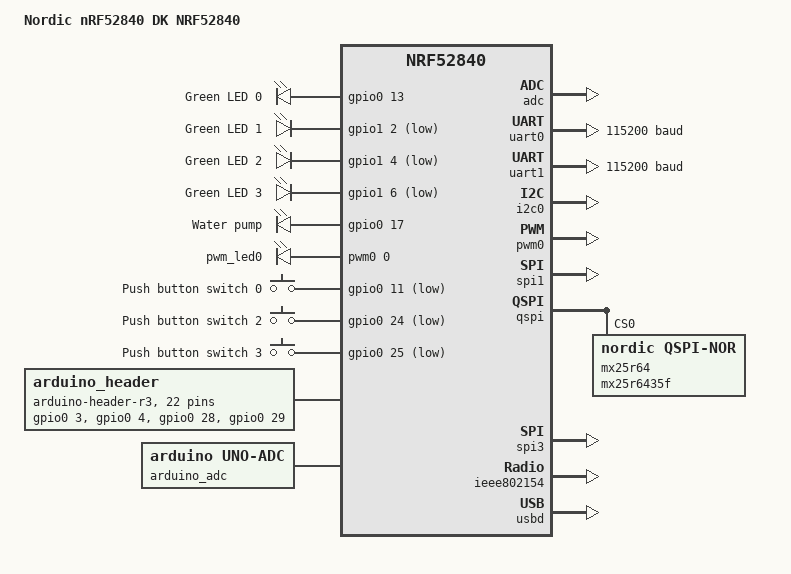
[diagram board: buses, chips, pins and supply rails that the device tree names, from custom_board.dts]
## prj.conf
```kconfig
#
# Copyright (c) 2020 Nordic Semiconductor
#
# SPDX-License-Identifier: LicenseRef-Nordic-5-Clause
#

# nRF board library
CONFIG_DK_LIBRARY=y
CONFIG_OPENTHREAD_NORDIC_LIBRARY_MASTER=y

CONFIG_MAIN_STACK_SIZE=4069

# Enable OpenThread CoAP support API
CONFIG_OPENTHREAD_COAP=y

# Network shell
CONFIG_SHELL=n
CONFIG_OPENTHREAD_SHELL=n
CONFIG_SHELL_ARGC_MAX=26
CONFIG_SHELL_CMD_BUFF_SIZE=416

# Network sockets
CONFIG_NET_SOCKETS=y
CONFIG_NET_SOCKETS_POSIX_NAMES=y
CONFIG_NET_SOCKETS_POLL_MAX=4

# Same network Master Key for client and server
CONFIG_OPENTHREAD_NETWORKKEY="82:21:94:33:11:87:66:75:88:99:ae:bc:fc:da:ea:fc"
CONFIG_OPENTHREAD_NETWORK_NAME="Yann-OpenThread"
CONFIG_OPENTHREAD_CHANNEL=15
CONFIG_OPENTHREAD_PANID=4289
CONFIG_OPENTHREAD_XPANID="97:87:30:19:36:63:66:16"
CONFIG_OPENTHREAD_JOINER_PSKD="J01NU5"
CONFIG_OPENTHREAD_JOINER=y
CONFIG_OPENTHREAD_JOINER_AUTOSTART=y

# L2 OpenThread enabling
CONFIG_NET_L2_OPENTHREAD=y

# Generic networking options
CONFIG_NETWORKING=y

CONFIG_MBEDTLS_SHA1_C=n
CONFIG_FPU=y

# ADC
CONFIG_ADC=y

# Fuel gauge
CONFIG_FUEL_GAUGE=y

# Temperature/Humidity sensor
CONFIG_SENSOR=y
```

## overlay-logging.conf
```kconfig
#
# Copyright (c) 2022 Nordic Semiconductor
#
# SPDX-License-Identifier: LicenseRef-Nordic-5-Clause

# Enable net module logging
CONFIG_NET_LOG=y
# Option for configuring log level in net config library
CONFIG_NET_CONFIG_LOG_LEVEL_INF=y

# Option for configuring log level in Zephyr L2 logging
CONFIG_OPENTHREAD_L2_DEBUG=y
#CONFIG_OPENTHREAD_L2_LOG_LEVEL_DBG=y
CONFIG_OPENTHREAD_L2_DEBUG_DUMP_15_4=y
CONFIG_OPENTHREAD_L2_DEBUG_DUMP_IPV6=y

# Configure sample logging setting
CONFIG_LOG=y
CONFIG_COAP_SERVER_LOG_LEVEL_INF=y
#CONFIG_OT_COAP_UTILS_LOG_LEVEL_DBG=y
CONFIG_OPENTHREAD_DEBUG=n

# Option for configuring log level in OpenThread
CONFIG_OT_COAP_UTILS_LOG_LEVEL_INF=y
#CONFIG_OPENTHREAD_LOG_LEVEL_NOTE=y


# Disable RTT logging backend
#CONFIG_USE_SEGGER_RTT=n
CONFIG_LOG_BACKEND_RTT=n

# Enable UART logging backend
CONFIG_LOG_BACKEND_UART=n
CONFIG_SHELL_LOG_BACKEND=y
```

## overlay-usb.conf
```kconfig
#
# Copyright (c) 2021 Nordic Semiconductor
#
# SPDX-License-Identifier: LicenseRef-Nordic-5-Clause
#

CONFIG_SHELL_BACKEND_SERIAL_INIT_PRIORITY=51

CONFIG_UART_LINE_CTRL=n
#CONFIG_SHELL_BACKEND_SERIAL_CHECK_DTR=y
#CONFIG_USB_CDC_ACM_LOG_LEVEL_OFF=y

CONFIG_USB_DEVICE_STACK=y
CONFIG_USB_DEVICE_REMOTE_WAKEUP=n
CONFIG_USB_DEVICE_MANUFACTURER="Yann T."
CONFIG_USB_DEVICE_PRODUCT="HA CoAp Device"
CONFIG_USB_DEVICE_VID=0x1915
CONFIG_USB_DEVICE_PID=0x0000
CONFIG_USB_DEVICE_INITIALIZE_AT_BOOT=n
```

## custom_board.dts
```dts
/*
 * Copyright (c) 2017 Linaro Limited
 *
 * SPDX-License-Identifier: Apache-2.0
 */

/dts-v1/;
#include <nordic/nrf52840_qiaa.dtsi>
#include "nrf52840dk_nrf52840-pinctrl.dtsi"

/ {
	model = "Nordic nRF52840 DK NRF52840";
	compatible = "nordic,nrf52840-dk-nrf52840";

	chosen {
		zephyr,console = &cdc_acm_uart;
		zephyr,shell-uart = &cdc_acm_uart;
		zephyr,uart-mcumgr = &cdc_acm_uart;
		zephyr,bt-mon-uart = &cdc_acm_uart;
		zephyr,bt-c2h-uart = &cdc_acm_uart;
		zephyr,sram = &sram0;
		zephyr,flash = &flash0;
		zephyr,code-partition = &slot0_partition;
		zephyr,ieee802154 = &ieee802154;
	};

	leds {
		compatible = "gpio-leds";
		led0: led_0 {
			gpios = <&gpio0 13 GPIO_ACTIVE_HIGH>;
			label = "Green LED 0";
		};
		led1: led_1 {
			gpios = <&gpio1 2 GPIO_ACTIVE_LOW>;
			label = "Green LED 1";
		};
		led2: led_2 {
			gpios = <&gpio1 4 GPIO_ACTIVE_LOW>;
			label = "Green LED 2";
		};
		led3: led_3 {
			gpios = <&gpio1 6 GPIO_ACTIVE_LOW>;
			label = "Green LED 3";
		};
		pump1: pump_1 {
			gpios = <&gpio0 17 GPIO_ACTIVE_HIGH>;
			label = "Water pump";
		};
	};

	pwmleds {
		compatible = "pwm-leds";
		pwm_led0: pwm_led_0 {
			pwms = <&pwm0 0 PWM_MSEC(20) PWM_POLARITY_INVERTED>;
		};
	};

	buttons {
		compatible = "gpio-keys";
		button0: button_0 {
			gpios = <&gpio0 11 (GPIO_PULL_UP | GPIO_ACTIVE_LOW)>;
			label = "Push button switch 0";
		};
		// button1: button_1 {
		// 	gpios = <&gpio0 12 (GPIO_PULL_UP | GPIO_ACTIVE_LOW)>;
		// 	label = "Push button switch 1";
		// };
		button2: button_2 {
			gpios = <&gpio0 24 (GPIO_PULL_UP | GPIO_ACTIVE_LOW)>;
			label = "Push button switch 2";
		};
		button3: button_3 {
			gpios = <&gpio0 25 (GPIO_PULL_UP | GPIO_ACTIVE_LOW)>;
			label = "Push button switch 3";
		};
	};

	arduino_header: connector {
		compatible = "arduino-header-r3";
		#gpio-cells = <2>;
		gpio-map-mask = <0xffffffff 0xffffffc0>;
		gpio-map-pass-thru = <0 0x3f>;
		gpio-map = <0 0 &gpio0 3 0>,	/* A0 */
			   <1 0 &gpio0 4 0>,	/* A1 */
			   <2 0 &gpio0 28 0>,	/* A2 */
			   <3 0 &gpio0 29 0>,	/* A3 */
			   <4 0 &gpio0 30 0>,	/* A4 */
			   <5 0 &gpio0 31 0>,	/* A5 */
			   <6 0 &gpio1 1 0>,	/* D0 */
			   <7 0 &gpio1 2 0>,	/* D1 */
			   <8 0 &gpio1 3 0>,	/* D2 */
			   <9 0 &gpio1 4 0>,	/* D3 */
			   <10 0 &gpio1 5 0>,	/* D4 */
			   <11 0 &gpio1 6 0>,	/* D5 */
			   <12 0 &gpio1 7 0>,	/* D6 */
			   <13 0 &gpio1 8 0>,	/* D7 */
			   <14 0 &gpio1 10 0>,	/* D8 */
			   <15 0 &gpio1 11 0>,	/* D9 */
			   <16 0 &gpio1 12 0>,	/* D10 */
			   <17 0 &gpio1 13 0>,	/* D11 */
			   <18 0 &gpio1 14 0>,	/* D12 */
			   <19 0 &gpio1 15 0>,	/* D13 */
			   <20 0 &gpio0 26 0>,	/* D14 */
			   <21 0 &gpio0 27 0>;	/* D15 */
	};

	arduino_adc: analog-connector {
		compatible = "arduino,uno-adc";
		#io-channel-cells = <1>;
		io-channel-map = <0 &adc 1>,	/* A0 = P0.3 = AIN1 */
				 <1 &adc 2>,	/* A1 = P0.4 = AIN2 */
				 <2 &adc 4>,	/* A2 = P0.28 = AIN4 */
				 <3 &adc 5>,	/* A3 = P0.29 = AIN5 */
				 <4 &adc 6>,	/* A4 = P0.30 = AIN6 */
				 <5 &adc 7>;	/* A5 = P0.31 = AIN7 */
	};

	/* These aliases are provided for compatibility with samples */
	aliases {
		led0 = &led0;
		led1 = &led1;
		led2 = &led2;
		led3 = &led3;
		pump1 = &pump1;
		pwm-led0 = &pwm_led0;
		sw0 = &button0;
		//sw1 = &button1;
		sw2 = &button2;
		sw3 = &button3;
		bootloader-led0 = &led0;
		mcuboot-button0 = &button0;
		mcuboot-led0 = &led0;
		watchdog0 = &wdt0;
		spi-flash0 = &mx25r64;
	};
};

&adc {
	status = "okay";
};

&gpiote {
	status = "okay";
};

&gpio0 {
	status = "okay";
};

&gpio1 {
	status = "okay";
};

&uart0 {
	compatible = "nordic,nrf-uarte";
	status = "okay";
	current-speed = <115200>;
	pinctrl-0 = <&uart0_default>;
	pinctrl-1 = <&uart0_sleep>;
	pinctrl-names = "default", "sleep";
};

arduino_serial: &uart1 {
	current-speed = <115200>;
	pinctrl-0 = <&uart1_default>;
	pinctrl-1 = <&uart1_sleep>;
	pinctrl-names = "default", "sleep";
};

arduino_i2c: &i2c0 {
	compatible = "nordic,nrf-twi";
	status = "okay";
	pinctrl-0 = <&i2c0_default>;
	pinctrl-1 = <&i2c0_sleep>;
	pinctrl-names = "default", "sleep";
};

&i2c1 {
	compatible = "nordic,nrf-twi";
	/* Cannot be used together with spi1. */
	/* status = "okay"; */
	pinctrl-0 = <&i2c1_default>;
	pinctrl-1 = <&i2c1_sleep>;
	pinctrl-names = "default", "sleep";
};

&pwm0 {
	status = "okay";
	pinctrl-0 = <&pwm0_default>;
	pinctrl-1 = <&pwm0_sleep>;
	pinctrl-names = "default", "sleep";
};

&spi0 {
	compatible = "nordic,nrf-spi";
	/* Cannot be used together with i2c0. */
	/* status = "okay"; */
	pinctrl-0 = <&spi0_default>;
	pinctrl-1 = <&spi0_sleep>;
	pinctrl-names = "default", "sleep";
};

&spi1 {
	compatible = "nordic,nrf-spi";
	status = "okay";
	pinctrl-0 = <&spi1_default>;
	pinctrl-1 = <&spi1_sleep>;
	pinctrl-names = "default", "sleep";
};

&spi2 {
	compatible = "nordic,nrf-spi";
	status = "disabled";
	pinctrl-0 = <&spi2_default>;
	pinctrl-1 = <&spi2_sleep>;
	pinctrl-names = "default", "sleep";
};

&qspi {
	status = "okay";
	pinctrl-0 = <&qspi_default>;
	pinctrl-1 = <&qspi_sleep>;
	pinctrl-names = "default", "sleep";
	mx25r64: mx25r6435f@0 {
		compatible = "nordic,qspi-nor";
		reg = <0>;
		/* MX25R64 supports only pp and pp4io */
		writeoc = "pp4io";
		/* MX25R64 supports all readoc options */
		readoc = "read4io";
		sck-frequency = <8000000>;
		jedec-id = [c2 28 17];
		sfdp-bfp = [
			e5 20 f1 ff  ff ff ff 03  44 eb 08 6b  08 3b 04 bb
			ee ff ff ff  ff ff 00 ff  ff ff 00 ff  0c 20 0f 52
			10 d8 00 ff  23 72 f5 00  82 ed 04 cc  44 83 68 44
			30 b0 30 b0  f7 c4 d5 5c  00 be 29 ff  f0 d0 ff ff
		];
		size = <67108864>;
		has-dpd;
		t-enter-dpd = <10000>;
		t-exit-dpd = <35000>;
	};
};

arduino_spi: &spi3 {
	status = "okay";
	cs-gpios = <&arduino_header 16 GPIO_ACTIVE_LOW>; /* D10 */
	pinctrl-0 = <&spi3_default>;
	pinctrl-1 = <&spi3_sleep>;
	pinctrl-names = "default", "sleep";
};

&ieee802154 {
	status = "okay";
};

&flash0 {

	partitions {
		compatible = "fixed-partitions";
		#address-cells = <1>;
		#size-cells = <1>;

		boot_partition: partition@0 {
			label = "mcuboot";
			reg = <0x00000000 0x0000C000>;
		};
		slot0_partition: partition@c000 {
			label = "image-0";
			reg = <0x0000C000 0x00076000>;
		};
		slot1_partition: partition@82000 {
			label = "image-1";
			reg = <0x00082000 0x00076000>;
		};

		/*
		 * The flash starting at 0x000f8000 and ending at
		 * 0x000fffff is reserved for use by the application.
		 */

		/*
		 * Storage partition will be used by FCB/LittleFS/NVS
		 * if enabled.
		 */
		storage_partition: partition@f8000 {
			label = "storage";
			reg = <0x000f8000 0x00008000>;
		};
	};
};

zephyr_udc0: &usbd {
	compatible = "nordic,nrf-usbd";
	status = "okay";

	cdc_acm_uart: cdc_acm_uart {
		compatible = "zephyr,cdc-acm-uart";
	};
};
```

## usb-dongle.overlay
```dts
/*
 * Copyright (c) 2021 Nordic Semiconductor ASA
 *
 * SPDX-License-Identifier: LicenseRef-Nordic-5-Clause
 */

/ {
	chosen {
		zephyr,shell-uart = &cdc_acm_uart;
	};
};

/ {
	chosen {
		zephyr,sconsole = &cdc_acm_uart;
	};
};

&zephyr_udc0 {
	cdc_acm_uart: cdc_acm_uart {
		compatible = "zephyr,cdc-acm-uart";
	};
};
```

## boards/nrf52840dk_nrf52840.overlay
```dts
/* Copyright (c) 2020 Nordic Semiconductor ASA
 *
 * SPDX-License-Identifier: LicenseRef-Nordic-5-Clause
 */

/ {
	/*
	* In some default configurations within the nRF Connect SDK,
	* e.g. on nRF52840, the chosen zephyr,entropy node is &cryptocell.
	* This devicetree overlay ensures that default is overridden wherever it
	* is set, as this application uses the RNG node for entropy exclusively.
	*/
	chosen {
		zephyr,entropy = &rng;
	};

	zephyr,user {
		io-channels = <&adc 0>;
	};
};

&adc {
	#address-cells = <1>;
	#size-cells = <0>;

	channel@0 {
		reg = <0>;
		zephyr,gain = "ADC_GAIN_1_6";
		zephyr,reference = "ADC_REF_INTERNAL";
		zephyr,acquisition-time = <ADC_ACQ_TIME_DEFAULT>;
		zephyr,input-positive = <NRF_SAADC_AIN0>; /* P0.02 */
		zephyr,resolution = <12>;
	};
};

&i2c0 {
	status = "okay";
	compatible = "nordic,nrf-twim";
	pinctrl-0 = <&i2c0_default>;
	pinctrl-1 = <&i2c0_sleep>;
	pinctrl-names = "default", "sleep";
	max17048:max17048@36 {
		compatible = "maxim,max17048";
		status = "ok";
		reg = <0x36 >;
	};
	ti_hdc: ti_hdc@40 {
		compatible = "ti,hdc","ti,hdc1080";
		reg = <0x40>;
	};
};

// &arduino_adc {
// 	io-channel-map = <0 &adc 1>, <1 &adc 2>, <2 &adc 4>, <3 &adc 5>, <4 &adc 6>, <5 &adc 7>;
// };

&arduino_header {
	gpio-map = <0 0 &gpio0 3 0>,
			   <1 0 &gpio0 4 0>,
			   <2 0 &gpio0 28 0>,
			   <3 0 &gpio0 29 0>,
			   <4 0 &gpio0 30 0>,
			   <5 0 &gpio0 31 0>,
			   <6 0 &gpio1 1 0>,
			   <7 0 &gpio1 2 0>,
			   <8 0 &gpio1 3 0>,
			   <9 0 &gpio1 4 0>,
			   <10 0 &gpio1 5 0>,
			   <11 0 &gpio1 6 0>,
			   <12 0 &gpio1 7 0>,
			   <13 0 &gpio1 8 0>,
			   <14 0 &gpio1 10 0>,
			   <15 0 &gpio1 11 0>,
			   <16 0 &gpio1 12 0>,
			   <17 0 &gpio1 13 0>,
			   <18 0 &gpio1 14 0>,
			   <19 0 &gpio1 15 0>,
			   <20 0 &gpio0 26 0>,
			   <21 0 &gpio0 27 0>;
};
```

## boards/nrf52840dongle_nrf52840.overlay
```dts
/* Copyright (c) 2020 Nordic Semiconductor ASA
 *
 * SPDX-License-Identifier: LicenseRef-Nordic-5-Clause
 */

/ {
	/*
	* In some default configurations within the nRF Connect SDK,
	* e.g. on nRF52840, the chosen zephyr,entropy node is &cryptocell.
	* This devicetree overlay ensures that default is overridden wherever it
	* is set, as this application uses the RNG node for entropy exclusively.
	*/
	chosen {
		zephyr,entropy = &rng;
	};

	zephyr,user {
		io-channels = <&adc 0>;
	};
};

&adc {
	#address-cells = <1>;
	#size-cells = <0>;

	channel@0 {
		reg = <0>;
		zephyr,gain = "ADC_GAIN_1_6";
		zephyr,reference = "ADC_REF_INTERNAL";
		zephyr,acquisition-time = <ADC_ACQ_TIME_DEFAULT>;
		zephyr,input-positive = <NRF_SAADC_AIN0>; /* P0.02 */
		zephyr,resolution = <12>;
	};
};
```

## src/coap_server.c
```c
/*
 * Copyright (c) 2020 Nordic Semiconductor ASA
 *
 * SPDX-License-Identifier: LicenseRef-Nordic-5-Clause
 */

//#include <stdio. h> // for snprintf
#include <zephyr/kernel.h>
#include <dk_buttons_and_leds.h>
#include <zephyr/logging/log.h>
#include <zephyr/net/openthread.h>
#include <openthread/thread.h>
#include <zephyr/drivers/uart.h>
#include <zephyr/usb/usb_device.h>
#include <openthread/srp_client.h>
#include <openthread/srp_client_buffers.h>
#include <zephyr/random/rand32.h>

#include <zephyr/device.h>
#include <zephyr/drivers/adc.h>
#include <zephyr/drivers/fuel_gauge.h>
#include <zephyr/devicetree.h>
#include <zephyr/drivers/sensor.h>

#include "ot_coap_utils.h"
#include "ot_srp_config.h"

#if !DT_NODE_EXISTS(DT_PATH(zephyr_user)) || \
	!DT_NODE_HAS_PROP(DT_PATH(zephyr_user), io_channels)
#error "No suitable devicetree overlay specified"
#endif

#define DT_SPEC_AND_COMMA(node_id, prop, idx) \
	ADC_DT_SPEC_GET_BY_IDX(node_id, idx),

/* Data of ADC io-channels specified in devicetree. */
static const struct adc_dt_spec adc_channels[] = {
	DT_FOREACH_PROP_ELEM(DT_PATH(zephyr_user), io_channels,
			     DT_SPEC_AND_COMMA)
};

/* HDC1810 temp/humidity sensor */
const struct device *const dev_hdc = DEVICE_DT_GET_ONE(ti_hdc);

LOG_MODULE_REGISTER(coap_server, CONFIG_COAP_SERVER_LOG_LEVEL);

#define OT_CONNECTION_LED 3
#define PROVISIONING_LED 2
#define LIGHT_LED 0
#define WATER_PUMP 4

#define PUMP_MAX_ACTIVE_TIME 4 // seconds
#define ADC_TIMER_PERIOD 1 // seconds
#define HUMIDITY_DRY 2100 // in mV
#define HUMIDITY_WET 800

// data global
uint8_t data[4] = {0};

// FW version
const char fw_version[] = SRP_CLIENT_INFO;

// ADC globals
uint16_t buf;
struct adc_sequence sequence = {
	.buffer = &buf,
	/* buffer size in bytes, not number of samples */
	.buffer_size = sizeof(buf),
};

struct fw_version {
	// FW version
	const char * fw_version_buf;
	uint8_t fw_version_size;
};

struct fw_version fw = {
	.fw_version_buf = fw_version,
	.fw_version_size = sizeof(fw_version),
};

int16_t temperature = 0;

/* timer */
static struct k_timer pump_timer;
static struct k_timer adc_timer;

/* fuel gauge*/
const struct device *const dev_fuelgauge = DEVICE_DT_GET_ANY(maxim_max17048);
struct fuel_gauge_get_property props_fuel_gauge[] = {
	{
		.property_type = FUEL_GAUGE_RUNTIME_TO_EMPTY,
	},
	{
		.property_type = FUEL_GAUGE_RUNTIME_TO_FULL,
	},
	{
		.property_type = FUEL_GAUGE_STATE_OF_CHARGE,
	},
	{
		.property_type = FUEL_GAUGE_VOLTAGE,
	}
};

/* hostname */
const char hostname[] = SRP_CLIENT_HOSTNAME;
const char service_instance[] = SRP_CLIENT_SERVICE_INSTANCE;
#ifdef SRP_CLIENT_RNG
char realhostname[sizeof(hostname)+SRP_CLIENT_RAND_SIZE+1] = {0};
char realinstance[sizeof(service_instance)+SRP_CLIENT_RAND_SIZE+1] = {0};
#elif SRP_CLIENT_UNIQUE
char realhostname[sizeof(hostname)+SRP_CLIENT_UNIQUE_SIZE+1] = {0};
char realinstance[sizeof(service_instance)+SRP_CLIENT_UNIQUE_SIZE+1] = {0};
#endif

const char service_name[] = SRP_SERVICE_NAME;

struct fw_version on_info_request()
{
	return fw;
}

static void on_light_request(uint8_t command)
{
	switch (command) {
	case THREAD_COAP_UTILS_LIGHT_CMD_ON:
		if (coap_is_pump_active() == false)
		{
			coap_activate_pump();
			dk_set_led_on(LIGHT_LED);
			dk_set_led_on(WATER_PUMP);
			k_timer_start(&pump_timer, K_SECONDS(PUMP_MAX_ACTIVE_TIME), K_NO_WAIT); // pump will be active for 5 seconds, unless a stop command is received
		}
		break;

	case THREAD_COAP_UTILS_LIGHT_CMD_OFF:
		if (coap_is_pump_active() == true)
		{
			coap_diactivate_pump();
			dk_set_led_off(LIGHT_LED);
			dk_set_led_off(WATER_PUMP);
			k_timer_stop(&pump_timer);
		}
		break;

	default:
		break;
	}
}


static int8_t * on_temperature_request()
{
	int err;
	int32_t val_mv;
	float temp_val = 0;

	/* READ TEMPERATURE */
	for (size_t i = 0U; i < ARRAY_SIZE(adc_channels); i++) {

		(void)adc_sequence_init_dt(&adc_channels[i], &sequence);

		err = adc_read(adc_channels[i].dev, &sequence);
		if (err < 0) {
			LOG_ERR("Could not read (%d)\n", err);
			continue;
		}

		/* conversion to mV may not be supported, skip if not */
		val_mv = buf;
		err = adc_raw_to_millivolts_dt(&adc_channels[i],
							&val_mv);
		if (err < 0) {
			LOG_ERR(" (value in mV not available)\n");
		}
	}
	// converts from mV to humidity
	temp_val = (float)val_mv;
	if (temp_val < HUMIDITY_WET)
		temp_val = HUMIDITY_WET;
	else if (temp_val > HUMIDITY_DRY)
		temp_val = HUMIDITY_DRY;
	temp_val -= HUMIDITY_WET;
	temp_val /= (HUMIDITY_DRY-HUMIDITY_WET);
	temp_val *= 100;
	temp_val = 100 - temp_val;

	data[0] = (uint8_t)temp_val;

	/* READ BATTERY SOC */
	err = fuel_gauge_get_prop(dev_fuelgauge, props_fuel_gauge, ARRAY_SIZE(props_fuel_gauge));
	if (err < 0) {
		LOG_INF("Error: properties\n");
	} else {
		if (err != 0) {
			LOG_INF("Warning: (Fuel-gauge)\n");
		}
		if (props_fuel_gauge[2].status == 0) {
			data[1] = (uint8_t)props_fuel_gauge[2].value.state_of_charge;
		} else {
			LOG_INF(
			"SOC error %d\n",
			props_fuel_gauge[2].status
			);
			data[1] = 0;
		}
	}

	/* READ AIR TEMPERATURE AND HUMIDITY*/
	struct sensor_value temp, humidity;
	sensor_sample_fetch(dev_hdc);
	sensor_channel_get(dev_hdc, SENSOR_CHAN_AMBIENT_TEMP, &temp);
	sensor_channel_get(dev_hdc, SENSOR_CHAN_HUMIDITY, &humidity);
	data[2] = humidity.val1;
	data[3] = temp.val1;

	/* print the result */
	LOG_INF("Temp = %d.%06d C, RH = %d.%06d %%\n",
			temp.val1, temp.val2, humidity.val1, humidity.val2);

	LOG_INF("soil_humidity = %d, battery = %d, air_humidity = %d, temperature = %d\n", data[0], data[1]);

	return data;
}

static void on_button_changed(uint32_t button_state, uint32_t has_changed)
{
	uint32_t buttons = button_state & has_changed;

	if (buttons & 4) {
		//k_work_submit(&provisioning_work);
	}
}

void srp_client_generate_name()
{
	#ifdef SRP_CLIENT_UNIQUE
		LOG_INF("Appending device ID to hostname");
		// first copy the hostname and service instance defined defined by SRP_CLIENT_HOSTNAME and SRP_CLIENT_SERVICE_INSTANCE, respectively
		memcpy(realhostname, hostname, sizeof(hostname));
		memcpy(realinstance, service_instance, sizeof(service_instance));
		// get a device ID
		uint32_t device_id = NRF_FICR->DEVICEID[0];
		// append the random number as a string to the hostname and service_instance buffers (numbe of digits is defined by SRP_CLIENT_RAND_SIZE)
		snprintf(realhostname+sizeof(hostname)-1, SRP_CLIENT_UNIQUE_SIZE+2, "-%x", device_id);
		snprintf(realinstance+sizeof(service_instance)-1, SRP_CLIENT_UNIQUE_SIZE+2, "-%x", device_id);
		LOG_INF("hostname is: %s\n", realhostname);
		LOG_INF("service instance is: %s\n", realinstance);
	#elif SRP_CLIENT_RNG
		LOG_INF("Appending random number to hostname");
		/* append a random number of size SRP_CLIENT_RAND_SIZE to the service hostname and service instance string buffers */
		// first copy the hostname and service instance defined defined by SRP_CLIENT_HOSTNAME and SRP_CLIENT_SERVICE_INSTANCE, respectively
		memcpy(realhostname, hostname, sizeof(hostname));
		memcpy(realinstance, service_instance, sizeof(service_instance));
		// get a random uint32_t (true random, hw based)
		uint32_t rn = sys_rand32_get();
		// append the random number as a string to the hostname and service_instance buffers (numbe of digits is defined by SRP_CLIENT_RAND_SIZE)
		snprintf(realhostname+sizeof(hostname)-1, SRP_CLIENT_RAND_SIZE+2, "-%x", rn);
		snprintf(realinstance+sizeof(service_instance)-1, SRP_CLIENT_RAND_SIZE+2, "-%x", rn);
		LOG_INF("hostname is: %s\n", realhostname);
		LOG_INF("service instance is: %s\n", realinstance);
	#else
		LOG_INF("hostname is: %s\n", hostname);
		LOG_INF("service instance is: %s\n", service_instance);
	#endif
}

void on_srp_client_updated(otError aError, const otSrpClientHostInfo *aHostInfo, const otSrpClientService *aServices, const otSrpClientService *aRemovedServices, void *aContext);

void on_srp_client_updated(otError aError, const otSrpClientHostInfo *aHostInfo, const otSrpClientService *aServices, const otSrpClientService *aRemovedServices, void *aContext)
{
	LOG_INF("SRP callback: %s", otThreadErrorToString(aError));
}

static void on_thread_state_changed(otChangedFlags flags, struct openthread_context *ot_context,
				    void *user_data)
{
	static uint8_t oneTime = 0;
	if (flags & OT_CHANGED_THREAD_ROLE) {
		switch (otThreadGetDeviceRole(ot_context->instance)) {
		case OT_DEVICE_ROLE_CHILD:
		case OT_DEVICE_ROLE_ROUTER:
		case OT_DEVICE_ROLE_LEADER:
			//dk_set_led_on(OT_CONNECTION_LED);
			otSrpClientBuffersServiceEntry *entry = NULL;
			uint16_t                        size;
			char                           *string;
			if (!oneTime)
			{
				oneTime = 1;

				// set the SRP update callback
				otSrpClientSetCallback(openthread_get_default_instance(), on_srp_client_updated, NULL);
				// set the service hostname
				#if defined SRP_CLIENT_RNG || defined SRP_CLIENT_UNIQUE
				if (otSrpClientSetHostName(openthread_get_default_instance(), realhostname) != OT_ERROR_NONE)
				#else
				if (otSrpClientSetHostName(openthread_get_default_instance(), hostname) != OT_ERROR_NONE)
				#endif
					LOG_INF("Cannot set SRP host name");
				// set address to auto
				if (otSrpClientEnableAutoHostAddress(openthread_get_default_instance()) != OT_ERROR_NONE)
					LOG_INF("Cannot set SRP host address to auto");
				// allocate service buffers from OT SRP API
				entry = otSrpClientBuffersAllocateService(openthread_get_default_instance());
				// get the service instance name string buffer from OT SRP API
				string = otSrpClientBuffersGetServiceEntryInstanceNameString(entry, &size); // make sure "service_instance" is not bigger than "size"!
				// copy the service instance
				#if defined SRP_CLIENT_RNG || defined SRP_CLIENT_UNIQUE
				memcpy(string, realinstance, sizeof(realinstance)+1);
				#else
				memcpy(string, service_instance, sizeof(service_instance)+1);
				#endif
				// get the service name string buffer from OT SRP API
				string = otSrpClientBuffersGetServiceEntryServiceNameString(entry, &size);
				// copy the service name (_ot._udp)
				memcpy(string, service_name, sizeof(service_name)+1); // make sure "service_name" is not bigger than "size"!;
				// configure service
				entry->mService.mNumTxtEntries = 0;
				entry->mService.mPort = 49154;
				// add service
				if (otSrpClientAddService(openthread_get_default_instance(), &entry->mService) != OT_ERROR_NONE)
					LOG_INF("Cannot add service to SRP client");
				else
					LOG_INF("Adding SRP client service...");
				// start SRP client (and set to auto-mode)
				otSrpClientEnableAutoStartMode(openthread_get_default_instance(), NULL, NULL);
				entry = NULL;
			}
			break;

		case OT_DEVICE_ROLE_DISABLED:
		case OT_DEVICE_ROLE_DETACHED:
		default:
			dk_set_led_off(OT_CONNECTION_LED);
			break;
		}
	}
}
static struct openthread_state_changed_cb ot_state_chaged_cb = { .state_changed_cb =
									 on_thread_state_changed };

static void on_pump_timer_expiry(struct k_timer *timer_id)
{
	ARG_UNUSED(timer_id);

	coap_diactivate_pump();

	dk_set_led_off(LIGHT_LED);
	dk_set_led_off(WATER_PUMP);

	k_timer_stop(&pump_timer);

}

static void on_adc_timer_expiry(struct k_timer *timer_id)
{
	ARG_UNUSED(timer_id);
	int err;
	int32_t val_mv;

	for (size_t i = 0U; i < ARRAY_SIZE(adc_channels); i++) {


		(void)adc_sequence_init_dt(&adc_channels[i], &sequence);

		err = adc_read(adc_channels[i].dev, &sequence);
		if (err < 0) {
			LOG_ERR("Could not read (%d)\n", err);
			continue;
		}

		/* conversion to mV may not be supported, skip if not */
		val_mv = buf;
		err = adc_raw_to_millivolts_dt(&adc_channels[i],
							&val_mv);
		if (err < 0) {
			LOG_ERR(" (value in mV not available)\n");
		}
	}

	temperature = (int16_t)val_mv;
}

int main(void)
{
	int ret;

	ret = dk_leds_init();
	if (ret) {
		LOG_ERR("Could not initialize leds, err code: %d", ret);
		goto end;
	}

	dk_set_led_on(OT_CONNECTION_LED);
	k_sleep(K_MSEC(100));
	dk_set_led_off(OT_CONNECTION_LED);
	k_sleep(K_MSEC(100));
	dk_set_led_on(OT_CONNECTION_LED);
	k_sleep(K_MSEC(100));
	dk_set_led_off(OT_CONNECTION_LED);
	k_sleep(K_MSEC(100));
	dk_set_led_on(OT_CONNECTION_LED);
	k_sleep(K_MSEC(100));
	dk_set_led_off(OT_CONNECTION_LED);
	k_sleep(K_MSEC(100));

	dk_set_led_on(LIGHT_LED);
	k_sleep(K_MSEC(100));
	dk_set_led_off(LIGHT_LED);
	k_sleep(K_MSEC(100));
	dk_set_led_on(LIGHT_LED);
	k_sleep(K_MSEC(100));
	dk_set_led_off(LIGHT_LED);
	k_sleep(K_MSEC(100));
	dk_set_led_on(LIGHT_LED);
	k_sleep(K_MSEC(100));
	dk_set_led_off(LIGHT_LED);
	k_sleep(K_MSEC(100));

	/* enable USB */
	// ret = usb_enable(NULL);
	// if (ret != 0) {
	// 	LOG_ERR("Failed to enable USB");
	// 	goto end;
	// }
	// k_sleep(K_MSEC(5000));

	/* Humidity/temp sensor */
	if (!device_is_ready(dev_hdc)) {
		LOG_INF("sensor: device not ready.\n");
		return 0;
	}

	LOG_INF("Dev %p name %s is ready!\n", dev_hdc, dev_hdc->name);

	struct sensor_value temp, humidity;

	/* take a sample */
	LOG_INF("Fetching...\n");
	sensor_sample_fetch(dev_hdc);
	sensor_channel_get(dev_hdc, SENSOR_CHAN_AMBIENT_TEMP, &temp);
	sensor_channel_get(dev_hdc, SENSOR_CHAN_HUMIDITY, &humidity);

	/* print the result */
	LOG_INF("Temp = %d.%06d C, RH = %d.%06d %%\n",
			temp.val1, temp.val2, humidity.val1, humidity.val2);

	/* Fuel Gauge */
	if (dev_fuelgauge == NULL) {
		LOG_ERR("\nError: no device found.\n");
		goto end;
	}
	if (!device_is_ready(dev_fuelgauge)) {
		LOG_ERR("\nError: Device \"%s\" is not ready; "
		       "check the driver initialization logs for errors.\n",
		       dev_fuelgauge->name);
		goto end;
	}
	LOG_INF("Found device \"%s\", getting fuel gauge data\n", dev_fuelgauge->name);
	if (dev_fuelgauge == NULL) {
		goto end;
	}

	ret = fuel_gauge_get_prop(dev_fuelgauge, props_fuel_gauge, ARRAY_SIZE(props_fuel_gauge));
	if (ret < 0) {
		LOG_INF("Error: cannot get properties\n");
	} else {
		if (ret != 0) {
			LOG_INF("Warning: Some properties failed\n");
		}

		if (props_fuel_gauge[0].status == 0) {
			LOG_INF("Time to empty %d\n", props_fuel_gauge[0].value.runtime_to_empty);
		} else {
			LOG_INF(
			"Time to empty error %d\n",
			props_fuel_gauge[0].status
			);
		}

		if (props_fuel_gauge[1].status == 0) {
			LOG_INF("Time to full %d\n", props_fuel_gauge[1].value.runtime_to_full);
		} else {
			LOG_INF(
			"Time to full error %d\n",
			props_fuel_gauge[1].status
			);
		}

		if (props_fuel_gauge[2].status == 0) {
			LOG_INF("Charge %d%%\n", props_fuel_gauge[2].value.state_of_charge);
		} else {
			LOG_INF(
			"Time to full error %d\n",
			props_fuel_gauge[2].status
			);
		}

		if (props_fuel_gauge[3].status == 0) {
			LOG_INF("Voltage %d\n", props_fuel_gauge[3].value.voltage);
		} else {
			LOG_INF(
			"FUEL_GAUGE_VOLTAGEerror %d\n",
			props_fuel_gauge[3].status
			);
		}
	}

	/* Configure channels individually prior to sampling. */
	for (size_t i = 0U; i < ARRAY_SIZE(adc_channels); i++) {
		if (!device_is_ready(adc_channels[i].dev)) {
			LOG_ERR("ADC controller device not ready\n");
			goto end;
		}
		ret = adc_channel_setup_dt(&adc_channels[i]);
		if (ret < 0) {
			LOG_ERR("Could not setup channel #%d (%d)\n", i, ret);
			goto end;
		}
	}

	/* generate a SRP client name to be advertised (mode defined in ot_srp_config.h macros) */
	srp_client_generate_name();

	LOG_INF("Start CoAP-server sample");
	ret = ot_coap_init(&on_light_request, &on_temperature_request, &on_info_request);
	if (ret) {
		LOG_ERR("Could not initialize OpenThread CoAP");
		goto end;
	}

	ret = dk_buttons_init(on_button_changed);
	if (ret) {
		LOG_ERR("Cannot init buttons (error: %d)", ret);
		goto end;
	}



	// dk_set_led_on(WATER_PUMP);
	// k_sleep(K_MSEC(10000));
	// dk_set_led_off(WATER_PUMP);

	/* Timer */
	k_timer_init(&pump_timer, on_pump_timer_expiry, NULL);
	k_timer_init(&adc_timer, on_adc_timer_expiry, NULL);
	/*
		If we want to get the temperature value periodically, start the timer.
		Otherwise, the ADC will be check only upon a tempereature GET request
		from coap server.
	*/
	//k_timer_start(&adc_timer, K_SECONDS(ADC_TIMER_PERIOD), K_SECONDS(ADC_TIMER_PERIOD));

	openthread_state_changed_cb_register(openthread_get_default_context(), &ot_state_chaged_cb);
	openthread_start(openthread_get_default_context());

end:
	return 0;
}
```

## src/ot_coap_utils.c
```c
/*
 * Copyright (c) 2020 Nordic Semiconductor ASA
 *
 * SPDX-License-Identifier: LicenseRef-Nordic-5-Clause
 */

#include <zephyr/logging/log.h>
#include <zephyr/net/net_pkt.h>
#include <zephyr/net/net_l2.h>
#include <zephyr/net/openthread.h>
#include <openthread/coap.h>
#include <openthread/ip6.h>
#include <openthread/message.h>
#include <openthread/thread.h>

#include "ot_coap_utils.h"

LOG_MODULE_REGISTER(ot_coap_utils, CONFIG_OT_COAP_UTILS_LOG_LEVEL);

struct server_context {
	struct otInstance *ot;
	bool pump_active;
	light_request_callback_t on_light_request;
	temperature_request_callback_t on_temperature_request;
	info_request_callback_t on_info_request;
};

static struct server_context srv_context = {
	.ot = NULL,
	.pump_active = false,
	.on_light_request = NULL,
	.on_temperature_request = NULL,
};

struct fw_version {
	// FW version
	const char * fw_version_buf;
	uint8_t fw_version_size;
};

void coap_activate_pump(void)
{
	srv_context.pump_active = true;
}

bool coap_is_pump_active(void)
{
	return srv_context.pump_active;
}

void coap_diactivate_pump(void)
{
	srv_context.pump_active = false;
}

/**@brief Definition of CoAP resources for light. */
static otCoapResource light_resource = {
	.mUriPath = LIGHT_URI_PATH,
	.mHandler = NULL,
	.mContext = NULL,
	.mNext = NULL,
};

/**@brief Definition of CoAP resources for temperature. */
static otCoapResource temperature_resource = {
	.mUriPath = TEMPERATURE_URI_PATH,
	.mHandler = NULL,
	.mContext = NULL,
	.mNext = NULL,
};
/* Information resource callbacks*/
static otError info_response_send(otMessage *request_message, const otMessageInfo *message_info)
{
	otError error = OT_ERROR_NO_BUFS;
	otMessage *response;
	const void *payload;
	uint16_t payload_size;
	struct fw_version fw;

	fw = srv_context.on_info_request(); // get temperature from coap_server.c

	response = otCoapNewMessage(srv_context.ot, NULL);
	if (response == NULL) {
		goto end;
	}

	otCoapMessageInit(response, OT_COAP_TYPE_NON_CONFIRMABLE,
			  OT_COAP_CODE_CONTENT);

	error = otCoapMessageSetToken(
		response, otCoapMessageGetToken(request_message),
		otCoapMessageGetTokenLength(request_message));
	if (error != OT_ERROR_NONE) {
		goto end;
	}

	error = otCoapMessageSetPayloadMarker(response);
	if (error != OT_ERROR_NONE) {
		goto end;
	}


	payload = &fw.fw_version_buf;
	payload_size = sizeof(fw.fw_version_size);

	error = otMessageAppend(response, payload, payload_size);
	if (error != OT_ERROR_NONE) {
		goto end;
	}

	error = otCoapSendResponse(srv_context.ot, response, message_info);

	LOG_INF("Firmware version is: %s", fw.fw_version_buf);

end:
	if (error != OT_ERROR_NONE && response != NULL) {
		otMessageFree(response);
	}

	return error;
}
static void info_request_handler(void *context, otMessage *message, const otMessageInfo *message_info)
{
	otError error;
	otMessageInfo msg_info;

	ARG_UNUSED(context);

	//LOG_INF("Received info request");

	if ((otCoapMessageGetType(message) == OT_COAP_TYPE_CONFIRMABLE) &&
	    (otCoapMessageGetCode(message) == OT_COAP_CODE_GET)) {
		msg_info = *message_info;
		memset(&msg_info.mSockAddr, 0, sizeof(msg_info.mSockAddr));

		info_response_send(message, &msg_info);
	}
	else
	{
		LOG_INF("Bad info request type or code.");
	}
}

/* Temperature resource callbacks*/
static otError temperature_response_send(otMessage *request_message, const otMessageInfo *message_info)
{
	otError error = OT_ERROR_NO_BUFS;
	otMessage *response;
	const void *payload;
	uint16_t payload_size;
	int8_t * data_buf = {0};

	data_buf = srv_context.on_temperature_request(); // get temperature from coap_server.c

	response = otCoapNewMessage(srv_context.ot, NULL);
	if (response == NULL) {
		goto end;
	}

	otCoapMessageInit(response, OT_COAP_TYPE_NON_CONFIRMABLE,
			  OT_COAP_CODE_CONTENT);

	error = otCoapMessageSetToken(
		response, otCoapMessageGetToken(request_message),
		otCoapMessageGetTokenLength(request_message));
	if (error != OT_ERROR_NONE) {
		goto end;
	}

	error = otCoapMessageSetPayloadMarker(response);
	if (error != OT_ERROR_NONE) {
		goto end;
	}

	payload = data_buf;
	payload_size = sizeof(data_buf);

	error = otMessageAppend(response, payload, payload_size);
	if (error != OT_ERROR_NONE) {
		goto end;
	}

	error = otCoapSendResponse(srv_context.ot, response, message_info);

	//LOG_INF("Temperature response sent: %d degC", data_buf);

end:
	if (error != OT_ERROR_NONE && response != NULL) {
		otMessageFree(response);
	}

	return error;
}
static void temperature_request_handler(void *context, otMessage *message, const otMessageInfo *message_info)
{
	otError error;
	otMessageInfo msg_info;

	ARG_UNUSED(context);

	LOG_INF("Received temperature request");

	if ((otCoapMessageGetType(message) == OT_COAP_TYPE_NON_CONFIRMABLE) &&
	    (otCoapMessageGetCode(message) == OT_COAP_CODE_GET)) {
		msg_info = *message_info;
		memset(&msg_info.mSockAddr, 0, sizeof(msg_info.mSockAddr));

		temperature_response_send(message, &msg_info);
	}
	else
	{
		LOG_INF("Bad temperature request type or code.");
	}
}
/* Light resource callbacks*/
static otError light_put_response_send(otMessage *request_message, const otMessageInfo *message_info)
{
	otError error = OT_ERROR_NO_BUFS;
	otMessage *response;
	const void *payload;
	uint16_t payload_size;
	uint8_t light_status;

	// create response message
	response = otCoapNewMessage(srv_context.ot, NULL);
	if (response == NULL) {
		LOG_INF("Error in otCoapNewMessage()");
		goto end;
	}

	// init response message
	otCoapMessageInitResponse(response, request_message, OT_COAP_TYPE_ACKNOWLEDGMENT,
			  OT_COAP_CODE_CHANGED);

	// set message payload marker
	error = otCoapMessageSetPayloadMarker(response);
	if (error != OT_ERROR_NONE) {
		LOG_INF("Error in otCoapMessageSetPayloadMarker()");
		goto end;
	}

	// update payload
	if (coap_is_pump_active())
		light_status = 1;
	else
		light_status - 0;
	payload = &light_status;
	payload_size = sizeof(light_status);

	error = otMessageAppend(response, payload, payload_size);
	if (error != OT_ERROR_NONE) {
		LOG_INF("Error in otMessageAppend()");
		goto end;
	}

	error = otCoapSendResponse(srv_context.ot, response, message_info);
	if (error != OT_ERROR_NONE) {
		LOG_INF("Error in otCoapSendResponse()");
		goto end;
	}

	//LOG_INF("Light PUT response sent: %d", light_status);

end:
	if (error != OT_ERROR_NONE && response != NULL) {
		LOG_INF("Couldn't send Light response");
		otMessageFree(response);
	}

	return error;
}
static otError light_get_response_send(otMessage *request_message, const otMessageInfo *message_info)
{
	otError error = OT_ERROR_NO_BUFS;
	otMessage *response;
	const void *payload;
	uint16_t payload_size;
	uint8_t val = coap_is_pump_active();
	
	response = otCoapNewMessage(srv_context.ot, NULL);
	if (response == NULL) {
		goto end;
	}

	otCoapMessageInit(response, OT_COAP_TYPE_NON_CONFIRMABLE,
			  OT_COAP_CODE_CONTENT);

	error = otCoapMessageSetToken(
		response, otCoapMessageGetToken(request_message),
		otCoapMessageGetTokenLength(request_message));
	if (error != OT_ERROR_NONE) {
		LOG_INF("Error in otCoapMessageSetToken()");
		goto end;
	}

	error = otCoapMessageSetPayloadMarker(response);
	if (error != OT_ERROR_NONE) {
		LOG_INF("Error in otCoapMessageSetPayloadMarker()");
		goto end;
	}

	payload = &val;
	payload_size = sizeof(val);

	error = otMessageAppend(response, payload, payload_size);
	if (error != OT_ERROR_NONE) {
		LOG_INF("Error in otMessageAppend()");
		goto end;
	}

	error = otCoapSendResponse(srv_context.ot, response, message_info);
	if (error != OT_ERROR_NONE) {
		LOG_INF("Error in otCoapSendResponse()");
		goto end;
	}

	LOG_INF("Light GET response sent: %d", val);

end:
	if (error != OT_ERROR_NONE && response != NULL) {
		otMessageFree(response);
		LOG_INF("Couldn't send Light GET response");
	}

	return error;
}
static void light_request_handler(void *context, otMessage *message, const otMessageInfo *message_info)
{
	uint8_t command;
	otMessageInfo msg_info;

	uint8_t isTypePut = 0;

	ARG_UNUSED(context);

	if ((otCoapMessageGetType(message) == OT_COAP_TYPE_CONFIRMABLE) && (otCoapMessageGetCode(message) == OT_COAP_CODE_PUT))
	{
		isTypePut = 1;
	}
	else if ((otCoapMessageGetType(message) == OT_COAP_TYPE_NON_CONFIRMABLE) && (otCoapMessageGetCode(message) == OT_COAP_CODE_GET))
	{
		isTypePut = 0;
	}
	else
	{
		LOG_INF("Bad light request type/code.");
		goto end;
	}

	msg_info = *message_info;
	memset(&msg_info.mSockAddr, 0, sizeof(msg_info.mSockAddr));

	if (isTypePut) {
		if (otMessageRead(message, otMessageGetOffset(message), &command, 1) != 1) {
			LOG_ERR("Light handler - Missing light command");
			goto end;
		}
		srv_context.on_light_request(command); // update light in coap_server.c
		LOG_INF("Received light PUT request: %c", command);
		light_put_response_send(message, &msg_info);
	}
	else {
		LOG_INF("Received light GET request");
		light_get_response_send(message, &msg_info);
	}

end:
	return;
}


static void coap_default_handler(void *context, otMessage *message,
				 const otMessageInfo *message_info)
{
	ARG_UNUSED(context);
	ARG_UNUSED(message);
	ARG_UNUSED(message_info);

	LOG_INF("Received CoAP message that does not match any request "
		"or resource");
}


int ot_coap_init(light_request_callback_t on_light_request, temperature_request_callback_t on_temperature_request, info_request_callback_t on_info_request)
{
	otError error;
	srv_context.on_light_request = on_light_request;
	srv_context.on_temperature_request = on_temperature_request;
	srv_context.on_info_request = on_info_request;

	srv_context.ot = openthread_get_default_instance();
	if (!srv_context.ot) {
		LOG_ERR("There is no valid OpenThread instance");
		error = OT_ERROR_FAILED;
		goto end;
	}

	light_resource.mContext = srv_context.ot;
	light_resource.mHandler = light_request_handler;

	temperature_resource.mContext = srv_context.ot;
	temperature_resource.mHandler = temperature_request_handler;

	otCoapSetDefaultHandler(srv_context.ot, coap_default_handler, NULL);
	otCoapAddResource(srv_context.ot, &light_resource);
	otCoapAddResource(srv_context.ot, &temperature_resource);

	error = otCoapStart(srv_context.ot, COAP_PORT);
	if (error != OT_ERROR_NONE) {
		LOG_ERR("Failed to start OT CoAP. Error: %d", error);
		goto end;
	}
	LOG_INF("Coap Server has started");

end:
	return error == OT_ERROR_NONE ? 0 : 1;
}
```

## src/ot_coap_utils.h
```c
/*
 * Copyright (c) 2020 Nordic Semiconductor ASA
 *
 * SPDX-License-Identifier: LicenseRef-Nordic-5-Clause
 */

#ifndef __OT_COAP_UTILS_H__
#define __OT_COAP_UTILS_H__

#include <coap_server_client_interface.h>

/**@brief Type definition of the function used to handle light resource change.
 */
typedef void (*light_request_callback_t)(uint8_t cmd);
typedef int8_t * (*temperature_request_callback_t)();
typedef struct fw_version (*info_request_callback_t)();
int ot_coap_init(light_request_callback_t on_light_request, temperature_request_callback_t, info_request_callback_t);


#endif
```

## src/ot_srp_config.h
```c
// un-comment macro below to append a random number to the SRP service hostname
//#define SRP_CLIENT_RNG 1
#define SRP_CLIENT_UNIQUE 1

#define SRP_CLIENT_HOSTNAME "ha-coap"
#define SRP_CLIENT_SERVICE_INSTANCE "ha-coap"
#define SRP_CLIENT_RAND_SIZE 8
#define SRP_CLIENT_UNIQUE_SIZE 8
#define SRP_SERVICE_NAME "_ot._udp"

#define SRP_CLIENT_INFO "v1.00"
```
